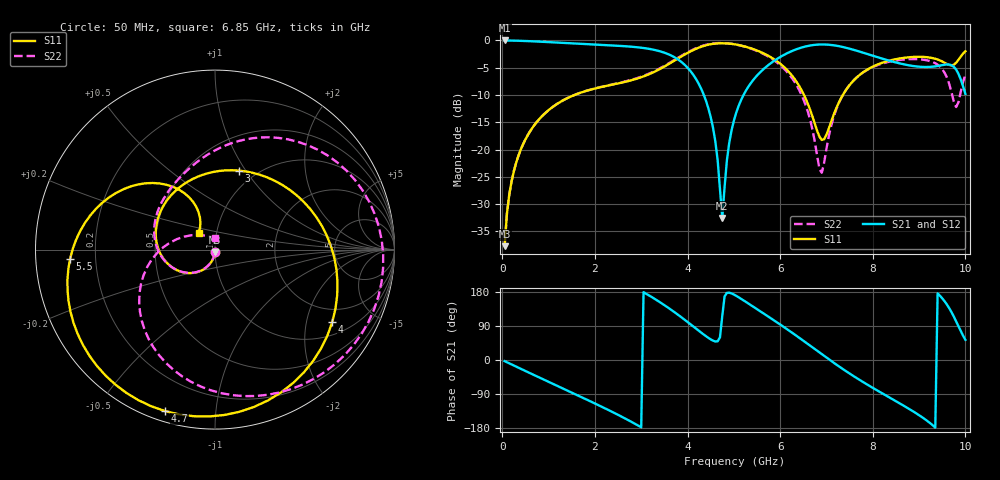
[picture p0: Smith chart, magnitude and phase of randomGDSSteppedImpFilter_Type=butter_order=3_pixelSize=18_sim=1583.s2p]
! freq	dB(S11)	phase(S11)	dB(S12)	phase(S12)
!  dB(S21)	phase(S21)	dB(S22)	phase(S22)
!S-par simulation data
#  GHz  S  DB  R 50
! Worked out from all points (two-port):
!   200 points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, 50 MHz to 10 GHz, reference 50 ohm
!   highest |S21| = -0.01 dB at 50 MHz (marker M1); lowest = -32.5 dB at 4.75 GHz (marker M2)
!   |S21| within 3 dB of the highest: start of sweep to 3.702 GHz; 6.006 GHz to 8.077 GHz (2.07 GHz wide, 29.4 % of centre)
!   lowest |S11| = -37.7 dB at 50 MHz (marker M3), VSWR 1.03, Z = 49.9 - j1.3 ohm
!   |S11| at or under -10 dB: start of sweep to 1.558 GHz; 6.514 GHz to 7.354 GHz (839.9 MHz wide, 12.1 % of centre)
!   |S22| runs from -37.7 to -0.5 dB; largest |S21 - S12| = 0
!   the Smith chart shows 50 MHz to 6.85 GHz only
!   S11 on the Smith chart (normalised r, x): 50 MHz: 1.00, -0.03; 3 GHz: 0.83, +0.93; 4 GHz: 1.45, -2.85; 4.7 GHz: 0.05, -0.74; 5.5 GHz: 0.11, -0.03; 6.85 GHz: 0.82, +0.16
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0.05  -37.69 -91.8  -0.01 -3.0  -0.01 -3.0  -37.69 -91.8
0.2  -25.83 -101.7  -0.03 -11.7  -0.03 -11.7  -25.83 -102.0
0.5  -18.12 -119.3  -0.11 -29.1  -0.11 -29.1  -18.12 -119.8
1.75  -9.41 167.2  -0.66 -100.3  -0.66 -100.3  -9.40 170.8
3  -6.75 73.2  -1.34 -177.5  -1.34 -177.5  -6.64 110.1
3.4  -5.25 33.7  -1.98 152.8  -1.98 152.8  -5.12 89.7
4  -2.30 -31.7  -4.99 100.4  -4.99 100.4  -2.18 48.4
4.45  -0.78 -81.5  -12.44 58.3  -12.44 58.3  -0.71 7.9
4.7  -0.52 -107.3  -27.12 59.7  -27.12 59.7  -0.47 -15.8
4.75  -0.52 -112.2  -32.50 116.1  -32.50 116.1  -0.47 -20.5
5.05  -0.76 -139.8  -13.28 169.4  -13.28 169.4  -0.76 -47.9
5.5  -1.85 -176.4  -6.44 134.2  -6.44 134.2  -1.92 -87.3
6.1  -5.00 139.8  -2.57 85.4  -2.57 85.4  -5.33 -140.6
6.7  -13.99 114.9  -0.86 33.1  -0.86 33.1  -16.43 147.8
6.85  -17.66 133.5  -0.75 19.7  -0.75 19.7  -23.61 90.4
7.6  -7.23 168.4  -1.75 -43.7  -1.75 -43.7  -7.20 -82.2
8.35  -3.72 123.8  -3.70 -98.2  -3.70 -98.2  -3.91 -144.8
8.95  -3.00 89.3  -4.77 -141.7  -4.77 -141.7  -3.43 163.1
9.4  -3.49 65.3  -4.68 176.0  -4.68 176.0  -4.45 107.5
9.7  -4.57 60.4  -4.54 126.3  -4.54 126.3  -9.49 24.2
9.85  -3.55 63.3  -6.11 89.2  -6.11 89.2  -11.34 -87.9
10  -1.99 56.1  -9.80 53.3  -9.80 53.3  -6.28 -164.0
